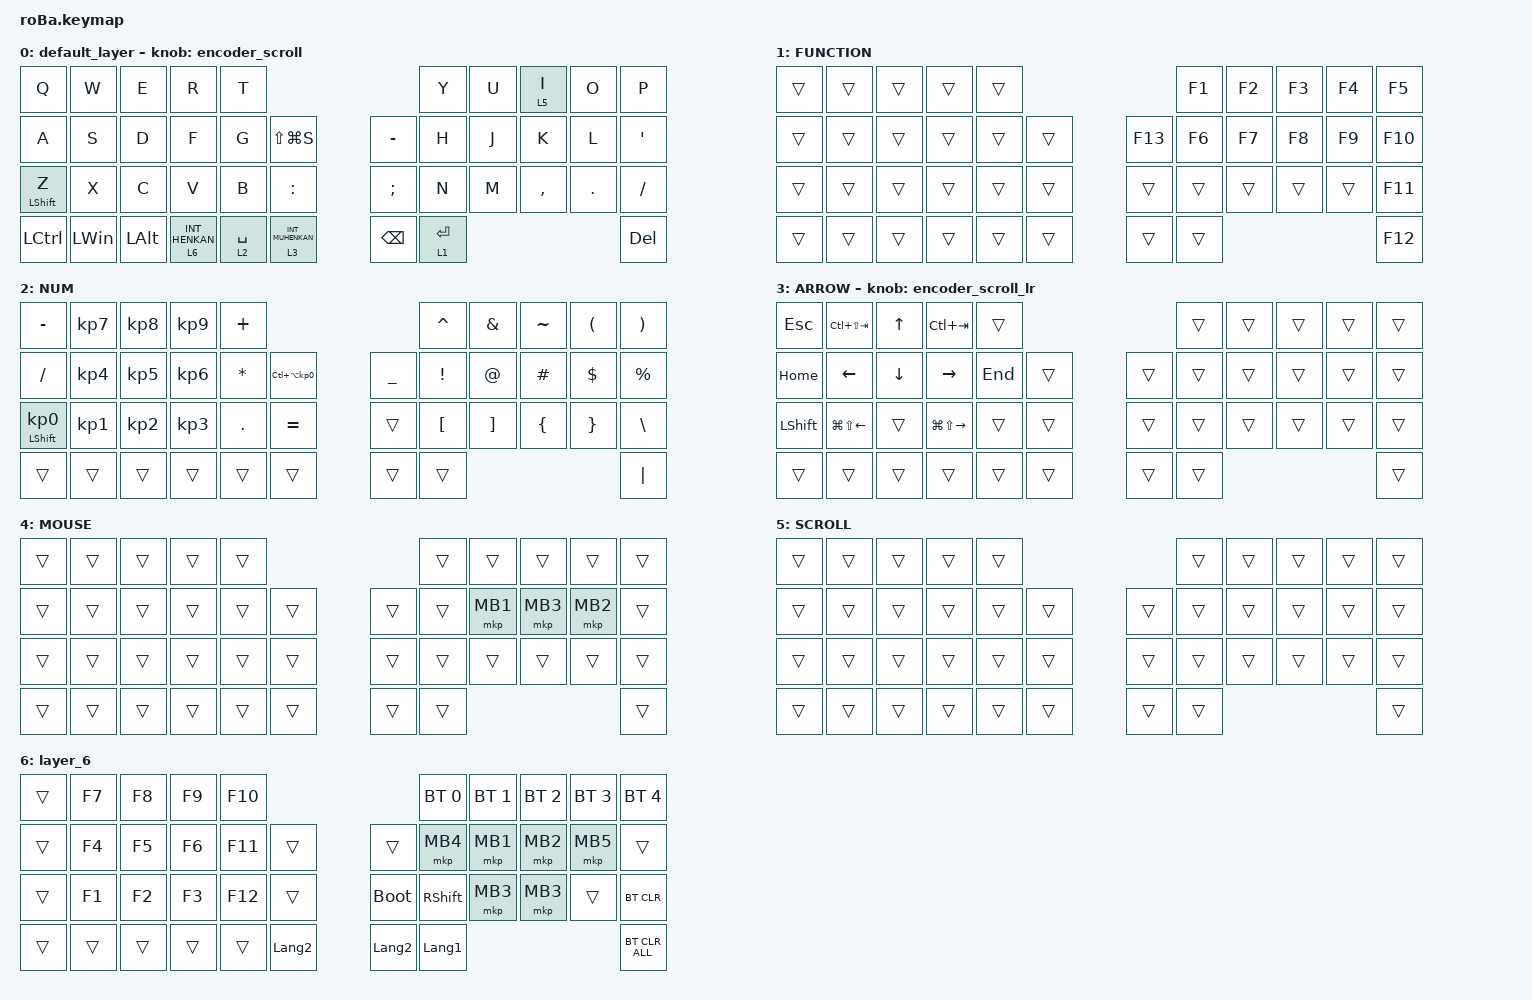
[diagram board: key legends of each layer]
#include <behaviors.dtsi>
#include <dt-bindings/zmk/bt.h>
#include <dt-bindings/zmk/keys.h>
#include <dt-bindings/zmk/pointing.h>

&mt {
    flavor = "balanced";
    quick-tap-ms = <0>;
};

&trackball {
    automouse-layer = <4>;
    scroll-layers = <5>;

    // arrows {
    //     layers = <3>;
    //     bindings =
    //         <&kp RIGHT_ARROW>,
    //         <&kp LEFT_ARROW>,
    //         <&kp UP_ARROW>,
    //         <&kp DOWN_ARROW>;
    //     tick = <10>;
    //     wait-ms = <5>;
    //     tap-ms = <5>;
    // };
};

/ {

    combos {
        compatible = "zmk,combos";

        tab {
            bindings = <&kp TAB>;
            key-positions = <11 12>;
        };

        shift_tab {
            bindings = <&kp LS(TAB)>;
            key-positions = <12 13>;
        };

        muhennkann {
            bindings = <&to_layer_0 INT_MUHENKAN>;
            key-positions = <11 10>;
        };

        double_quotation {
            bindings = <&kp DOUBLE_QUOTES>;
            key-positions = <20 21>;
        };

        eq {
            bindings = <&kp EQUAL>;
            key-positions = <24 25>;
        };
    };

    macros {
        to_layer_0: to_layer_0 {
            compatible = "zmk,behavior-macro-one-param";
            #binding-cells = <1>;
            bindings = <&to 0 &macro_param_1to1 &kp MACRO_PLACEHOLDER>;
            label = "TO_LAYER_0";
        };
    };

    behaviors {
        lt_to_layer_0: lt_to_layer_0 {
            compatible = "zmk,behavior-hold-tap";
            label = "LAYER_TAP_TO_0";
            bindings = <&mo>, <&to_layer_0>;

            #binding-cells = <2>;
            tapping-term-ms = <200>;
        };
// 上下スクロール用のエンコーダビヘイビア
        encoder_scroll: encoder_scroll {
            compatible = "zmk,behavior-sensor-rotate";
            #sensor-binding-cells = <0>;
            bindings = <&msc SCRL_UP>, <&msc SCRL_DOWN>;
        };
// 左右スクロール用のエンコーダビヘイビア
        encoder_scroll_lr: encoder_scroll_lr {
            compatible = "zmk,behavior-sensor-rotate";
            #sensor-binding-cells = <0>;
            bindings = <&msc SCRL_LEFT>, <&msc SCRL_RIGHT>;
        };
    };

    keymap {
        compatible = "zmk,keymap";

        default_layer {
            bindings = <
&kp Q             &kp W         &kp E         &kp R                        &kp T                                                          &kp Y        &kp U  &lt 5 I    &kp O    &kp P
&kp A             &kp S         &kp D         &kp F                        &kp G        &kp LS(LG(S))                      &kp MINUS      &kp H        &kp J  &kp K      &kp L    &kp SQT
&mt LEFT_SHIFT Z  &kp X         &kp C         &kp V                        &kp B        &kp COLON                          &kp SEMICOLON  &kp N        &kp M  &kp COMMA  &kp DOT  &kp SLASH
&kp LCTRL         &kp LEFT_WIN  &kp LEFT_ALT  &lt_to_layer_0 6 INT_HENKAN  &lt 2 SPACE  &lt_to_layer_0 3 INT_MUHENKAN      &kp BACKSPACE  &lt 1 ENTER                             &kp DEL
            >;

            sensor-bindings = <&encoder_scroll>;
        };

        FUNCTION {
            bindings = <
&trans  &trans  &trans  &trans  &trans                       &kp F1  &kp F2  &kp F3  &kp F4  &kp F5
&trans  &trans  &trans  &trans  &trans  &trans      &kp F13  &kp F6  &kp F7  &kp F8  &kp F9  &kp F10
&trans  &trans  &trans  &trans  &trans  &trans      &trans   &trans  &trans  &trans  &trans  &kp F11
&trans  &trans  &trans  &trans  &trans  &trans      &trans   &trans                          &kp F12
            >;
        };

        NUM {
            bindings = <
&kp MINUS                   &kp KP_NUMBER_7  &kp KP_NUMBER_8  &kp KP_NUMBER_9  &kp PLUS                                                   &kp CARET         &kp AMPERSAND      &kp TILDE       &kp LEFT_PARENTHESIS  &kp RIGHT_PARENTHESIS
&kp SLASH                   &kp KP_NUMBER_4  &kp KP_NUMBER_5  &kp KP_NUMBER_6  &kp ASTERISK  &kp LC(LA(KP_NUMBER_0))      &kp UNDERSCORE  &kp EXCLAMATION   &kp AT_SIGN        &kp HASH        &kp DOLLAR            &kp PERCENT
&mt LEFT_SHIFT KP_NUMBER_0  &kp KP_NUMBER_1  &kp KP_NUMBER_2  &kp KP_NUMBER_3  &kp PERIOD    &kp EQUAL                    &trans          &kp LEFT_BRACKET  &kp RIGHT_BRACKET  &kp LEFT_BRACE  &kp RIGHT_BRACE       &kp BACKSLASH
&trans                      &trans           &trans           &trans           &trans        &trans                       &trans          &trans                                                                     &kp PIPE
            >;
        };

        ARROW {
            bindings = <
&kp ESCAPE      &kp LC(LS(TAB))         &kp UP_ARROW    &kp LC(TAB)              &trans                       &trans  &trans  &trans  &trans  &trans
&kp HOME        &kp LEFT_ARROW          &kp DOWN_ARROW  &kp RIGHT_ARROW          &kp END  &trans      &trans  &trans  &trans  &trans  &trans  &trans
&kp LEFT_SHIFT  &kp LG(LS(LEFT_ARROW))  &trans          &kp LG(LS(RIGHT_ARROW))  &trans   &trans      &trans  &trans  &trans  &trans  &trans  &trans
&trans          &trans                  &trans          &trans                   &trans   &trans      &trans  &trans                          &trans
            >;

            sensor-bindings = <&encoder_scroll_lr>;
        };

        MOUSE {
            bindings = <
&trans  &trans  &trans  &trans  &trans                      &trans  &trans    &trans    &trans    &trans
&trans  &trans  &trans  &trans  &trans  &trans      &trans  &trans  &mkp MB1  &mkp MB3  &mkp MB2  &trans
&trans  &trans  &trans  &trans  &trans  &trans      &trans  &trans  &trans    &trans    &trans    &trans
&trans  &trans  &trans  &trans  &trans  &trans      &trans  &trans                                &trans
            >;
        };

        SCROLL {
            bindings = <
&trans  &trans  &trans  &trans  &trans                      &trans  &trans  &trans  &trans  &trans
&trans  &trans  &trans  &trans  &trans  &trans      &trans  &trans  &trans  &trans  &trans  &trans
&trans  &trans  &trans  &trans  &trans  &trans      &trans  &trans  &trans  &trans  &trans  &trans
&trans  &trans  &trans  &trans  &trans  &trans      &trans  &trans                          &trans
            >;
        };

        layer_6 {
            bindings = <
&trans  &kp F7  &kp F8  &kp F9  &kp F10                                      &bt BT_SEL 0     &bt BT_SEL 1  &bt BT_SEL 2  &bt BT_SEL 3  &bt BT_SEL 4
&trans  &kp F4  &kp F5  &kp F6  &kp F11  &trans              &trans          &mkp MB4         &mkp MB1      &mkp MB2      &mkp MB5      &trans
&trans  &kp F1  &kp F2  &kp F3  &kp F12  &trans              &bootloader     &kp RIGHT_SHIFT  &mkp MB3      &mkp MB3      &trans        &bt BT_CLR
&trans  &trans  &trans  &trans  &trans   &kp LANGUAGE_2      &kp LANGUAGE_2  &kp LANGUAGE_1                                             &bt BT_CLR_ALL
            >;
        };
    };
};
